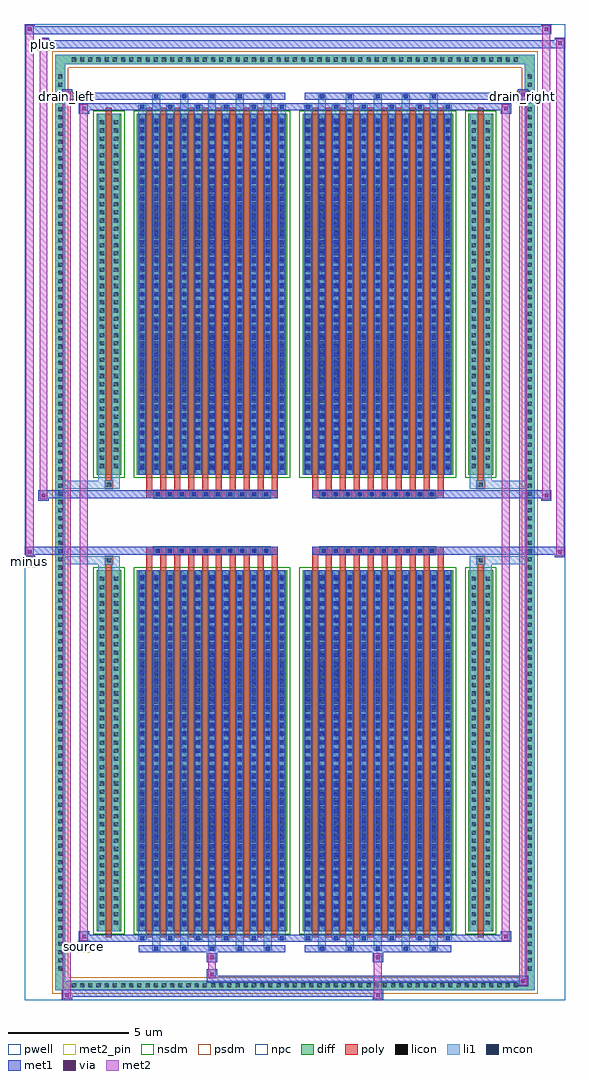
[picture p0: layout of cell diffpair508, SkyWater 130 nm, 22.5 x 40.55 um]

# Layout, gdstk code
import gdstk
lib = gdstk.Library(unit=1e-6, precision=5e-09)
def R(c, l, rs):  # rectangles x0, y0, x1, y1
    for r in rs: c.add(gdstk.rectangle(r[:2], r[2:], *l))
def A(c, l, x, y, w, h, nx, ny, dx, dy):  # array of equal rectangles
    R(c, l, [(x+i*dx, y+j*dy, x+i*dx+w, y+j*dy+h) for i in range(nx) for j in range(ny)])
def P(c, l, *ps):  # polygons
    for p in ps: c.add(gdstk.Polygon(p, *l))
pwell = (64, 44)
diff = (65, 20)
poly = (66, 20)
licon = (66, 44)
li1 = (67, 20)
mcon = (67, 44)
met1 = (68, 20)
via = (68, 44)
met2_pin = (69, 16)
met2 = (69, 20)
nsdm = (93, 44)
psdm = (94, 20)
npc = (95, 20)

diffpair508 = lib.new_cell('diffpair508')
R(diffpair508, pwell, [(-11.23,-19.84,11.23,20.71), (-8.55,-18.03,-0.01,-0.805), (0.01,-18.03,8.55,-0.805), (-8.55,0.805,-0.01,18.03), (0.01,0.805,8.55,18.03)])
A(diffpair508, diff, -9.385, -19.44, 0.41, 0.41, 55, 2, 0.34, 38.47)
A(diffpair508, diff, -9.96, -18.735, 0.41, 0.41, 1, 110, 0, 0.34)
A(diffpair508, diff, 9.55, -18.735, 0.41, 0.41, 1, 110, 0, 0.34)
R(diffpair508, diff, [(-9.385,-19.44,9.385,-19.03), (-9.96,-18.735,-9.55,18.735), (9.55,-18.735,9.96,18.735), (-8.24,-16.985,-7.21,-1.985), (-6.57,-16.985,-0.32,-1.985), (0.32,-16.985,6.57,-1.985), (7.21,-16.985,8.24,-1.985), (-8.24,1.985,-7.21,16.985), (-6.57,1.985,-0.32,16.985), (0.32,1.985,6.57,16.985), (7.21,1.985,8.24,16.985), (-9.385,19.03,9.385,19.44)])
P(diffpair508, diff, [(9.96,19.44),(-9.96,19.44),(-9.96,-19.03),(-9.55,-19.03),(-9.55,19.03),(9.55,19.03),(9.55,-19.03),(-9.55,-19.03),(-9.96,-19.03),(-9.96,-19.44),(9.96,-19.44)])
A(diffpair508, poly, -6.18, -17.235, 0.25, 15.5, 10, 2, 0.58, 18.97)
A(diffpair508, poly, 0.71, -17.235, 0.25, 15.5, 10, 2, 0.58, 18.97)
A(diffpair508, poly, -6.18, -1.735, 0.25, 0.4, 10, 2, 0.58, 3.07)
A(diffpair508, poly, 0.71, -1.735, 0.25, 0.4, 10, 2, 0.58, 3.07)
A(diffpair508, poly, -5.86, -1.335, 0.33, 0.33, 10, 2, 0.5, 2.34)
A(diffpair508, poly, 1.03, -1.335, 0.33, 0.33, 10, 2, 0.5, 2.34)
R(diffpair508, poly, [(-7.85,-17.235,-7.6,-1.735), (7.6,-17.235,7.85,-1.735), (-7.89,-1.735,-7.56,-1.405), (-7.89,-1.735,-7.56,-1.405), (7.56,-1.735,7.89,-1.405), (7.56,-1.735,7.89,-1.405), (-6.18,-1.335,-0.71,-1.005), (0.71,-1.335,6.18,-1.005), (-6.18,1.005,-0.71,1.335), (0.71,1.005,6.18,1.335), (-7.89,1.405,-7.56,1.735), (-7.89,1.405,-7.56,1.735), (7.56,1.405,7.89,1.735), (7.56,1.405,7.89,1.735), (-7.85,1.735,-7.6,17.235), (7.6,1.735,7.85,17.235)])
A(diffpair508, licon, -9.265, -19.32, 0.17, 0.17, 55, 2, 0.34, 38.47)
A(diffpair508, licon, -9.84, -18.615, 0.17, 0.17, 1, 110, 0, 0.34)
A(diffpair508, licon, 9.67, -18.615, 0.17, 0.17, 1, 110, 0, 0.34)
A(diffpair508, licon, -8.1, -16.71, 0.17, 0.17, 1, 43, 0, 0.34)
A(diffpair508, licon, -7.52, -16.71, 0.17, 0.17, 1, 43, 0, 0.34)
A(diffpair508, licon, -6.43, -16.71, 0.17, 0.17, 11, 43, 0.58, 0.34)
A(diffpair508, licon, 0.46, -16.71, 0.17, 0.17, 11, 43, 0.58, 0.34)
A(diffpair508, licon, 7.35, -16.71, 0.17, 0.17, 1, 43, 0, 0.34)
A(diffpair508, licon, 7.93, -16.71, 0.17, 0.17, 1, 43, 0, 0.34)
A(diffpair508, licon, -5.78, -1.255, 0.17, 0.17, 10, 2, 0.5, 2.34)
A(diffpair508, licon, 1.11, -1.255, 0.17, 0.17, 10, 2, 0.5, 2.34)
A(diffpair508, licon, -8.1, 2.26, 0.17, 0.17, 1, 43, 0, 0.34)
A(diffpair508, licon, -7.52, 2.26, 0.17, 0.17, 1, 43, 0, 0.34)
A(diffpair508, licon, -6.43, 2.26, 0.17, 0.17, 11, 43, 0.58, 0.34)
A(diffpair508, licon, 0.46, 2.26, 0.17, 0.17, 11, 43, 0.58, 0.34)
A(diffpair508, licon, 7.35, 2.26, 0.17, 0.17, 1, 43, 0, 0.34)
A(diffpair508, licon, 7.93, 2.26, 0.17, 0.17, 1, 43, 0, 0.34)
R(diffpair508, licon, [(-7.81,-1.655,-7.64,-1.485), (7.64,-1.655,7.81,-1.485), (-7.81,1.485,-7.64,1.655), (7.64,1.485,7.81,1.655)])
A(diffpair508, li1, -9.345, -19.4, 0.33, 0.33, 55, 2, 0.34, 38.47)
A(diffpair508, li1, -9.92, -18.695, 0.33, 0.33, 1, 110, 0, 0.34)
A(diffpair508, li1, 9.59, -18.695, 0.33, 0.33, 1, 110, 0, 0.34)
A(diffpair508, li1, -5.93, -17.79, 0.33, 0.805, 5, 2, 1.16, 34.775)
A(diffpair508, li1, -5.85, -17.79, 0.17, 0.17, 5, 2, 1.16, 35.41)
A(diffpair508, li1, 0.96, -17.79, 0.33, 0.805, 5, 2, 1.16, 34.775)
A(diffpair508, li1, 1.04, -17.79, 0.17, 0.17, 5, 2, 1.16, 35.41)
A(diffpair508, li1, -6.51, -17.36, 0.33, 0.375, 6, 2, 1.16, 34.345)
A(diffpair508, li1, -6.43, -17.36, 0.17, 0.17, 6, 2, 1.16, 34.55)
A(diffpair508, li1, 0.38, -17.36, 0.33, 0.375, 6, 2, 1.16, 34.345)
A(diffpair508, li1, 0.46, -17.36, 0.17, 0.17, 6, 2, 1.16, 34.55)
A(diffpair508, li1, -6.51, -16.985, 0.33, 15, 11, 2, 0.58, 18.97)
A(diffpair508, li1, 0.38, -16.985, 0.33, 15, 11, 2, 0.58, 18.97)
A(diffpair508, li1, -8.18, -16.79, 0.33, 0.33, 1, 43, 0, 0.34)
A(diffpair508, li1, -7.6, -16.79, 0.33, 0.33, 1, 43, 0, 0.34)
A(diffpair508, li1, -6.51, -16.79, 0.33, 0.33, 11, 43, 0.58, 0.34)
A(diffpair508, li1, 0.38, -16.79, 0.33, 0.33, 11, 43, 0.58, 0.34)
A(diffpair508, li1, 7.27, -16.79, 0.33, 0.33, 1, 43, 0, 0.34)
A(diffpair508, li1, 7.85, -16.79, 0.33, 0.33, 1, 43, 0, 0.34)
A(diffpair508, li1, -6.43, -16.77, 0.17, 0.17, 11, 41, 0.58, 0.36)
A(diffpair508, li1, -6.43, -16.77, 0.17, 14.57, 11, 2, 0.58, 18.97)
A(diffpair508, li1, 0.46, -16.77, 0.17, 0.17, 11, 41, 0.58, 0.36)
A(diffpair508, li1, 0.46, -16.77, 0.17, 14.57, 11, 2, 0.58, 18.97)
A(diffpair508, li1, -5.86, -1.335, 0.33, 0.33, 10, 2, 0.5, 2.34)
A(diffpair508, li1, 1.03, -1.335, 0.33, 0.33, 10, 2, 0.5, 2.34)
A(diffpair508, li1, -8.18, 2.18, 0.33, 0.33, 1, 43, 0, 0.34)
A(diffpair508, li1, -7.6, 2.18, 0.33, 0.33, 1, 43, 0, 0.34)
A(diffpair508, li1, -6.51, 2.18, 0.33, 0.33, 11, 43, 0.58, 0.34)
A(diffpair508, li1, 0.38, 2.18, 0.33, 0.33, 11, 43, 0.58, 0.34)
A(diffpair508, li1, 7.27, 2.18, 0.33, 0.33, 1, 43, 0, 0.34)
A(diffpair508, li1, 7.85, 2.18, 0.33, 0.33, 1, 43, 0, 0.34)
A(diffpair508, li1, -6.43, 2.2, 0.17, 0.17, 11, 41, 0.58, 0.36)
A(diffpair508, li1, 0.46, 2.2, 0.17, 0.17, 11, 41, 0.58, 0.36)
R(diffpair508, li1, [(-9.96,-19.44,-9.55,-19.03), (-9.96,-19.44,-9.55,-19.03), (-9.55,-19.44,9.55,-19.03), (9.55,-19.44,9.96,-19.03), (9.55,-19.44,9.96,-19.03), (-9.96,-19.03,-9.55,19.03), (9.55,-19.03,9.96,19.03), (-8.18,-16.985,-7.85,-1.985), (-7.6,-16.985,-7.27,-1.985), (7.27,-16.985,7.6,-1.985), (7.85,-16.985,8.18,-1.985), (-8.18,-1.985,-7.85,-1.405), (-7.6,-1.985,-7.27,-1.405), (7.27,-1.985,7.6,-1.405), (7.85,-1.985,8.18,-1.405), (-9.96,-1.735,-7.89,-1.405), (-8.18,-1.735,-7.89,-1.405), (-7.89,-1.735,-7.56,-1.405), (-7.56,-1.735,-7.27,-1.405), (7.27,-1.735,7.56,-1.405), (7.56,-1.735,7.89,-1.405), (7.56,-1.735,9.96,-1.405), (7.89,-1.735,8.18,-1.405), (-9.96,1.405,-7.89,1.735), (-8.18,1.405,-7.89,1.735), (-8.18,1.405,-7.85,1.985), (-7.89,1.405,-7.56,1.735), (-7.6,1.405,-7.27,1.985), (-7.56,1.405,-7.27,1.735), (7.27,1.405,7.56,1.735), (7.27,1.405,7.6,1.985), (7.56,1.405,7.89,1.735), (7.56,1.405,9.96,1.735), (7.85,1.405,8.18,1.985), (7.89,1.405,8.18,1.735), (-8.18,1.985,-7.85,16.985), (-7.6,1.985,-7.27,16.985), (7.27,1.985,7.6,16.985), (7.85,1.985,8.18,16.985), (-9.96,19.03,-9.55,19.44), (-9.96,19.03,-9.55,19.44), (-9.55,19.03,9.55,19.44), (9.55,19.03,9.96,19.44), (9.55,19.03,9.96,19.44)])
A(diffpair508, mcon, -5.85, -17.79, 0.17, 0.17, 5, 2, 1.16, 35.41)
A(diffpair508, mcon, 1.04, -17.79, 0.17, 0.17, 5, 2, 1.16, 35.41)
A(diffpair508, mcon, -6.43, -17.36, 0.17, 0.17, 6, 2, 1.16, 34.55)
A(diffpair508, mcon, 0.46, -17.36, 0.17, 0.17, 6, 2, 1.16, 34.55)
A(diffpair508, mcon, -6.43, -16.77, 0.17, 0.17, 11, 41, 0.58, 0.36)
A(diffpair508, mcon, 0.46, -16.77, 0.17, 0.17, 11, 41, 0.58, 0.36)
A(diffpair508, mcon, -5.78, -1.255, 0.17, 0.17, 10, 2, 0.5, 2.34)
A(diffpair508, mcon, 1.11, -1.255, 0.17, 0.17, 10, 2, 0.5, 2.34)
A(diffpair508, mcon, -6.43, 2.2, 0.17, 0.17, 11, 41, 0.58, 0.36)
A(diffpair508, mcon, 0.46, 2.2, 0.17, 0.17, 11, 41, 0.58, 0.36)
A(diffpair508, met1, -5.91, -17.85, 0.29, 0.29, 5, 2, 1.16, 35.41)
A(diffpair508, met1, 0.98, -17.85, 0.29, 0.29, 5, 2, 1.16, 35.41)
A(diffpair508, met1, -6.49, -17.42, 0.29, 0.29, 6, 2, 1.16, 34.55)
A(diffpair508, met1, 0.4, -17.42, 0.29, 0.29, 6, 2, 1.16, 34.55)
A(diffpair508, met1, -6.49, -16.985, 0.29, 15, 11, 2, 0.58, 18.97)
A(diffpair508, met1, 0.4, -16.985, 0.29, 15, 11, 2, 0.58, 18.97)
A(diffpair508, met1, -6.49, -16.83, 0.29, 0.29, 11, 41, 0.58, 0.36)
A(diffpair508, met1, 0.4, -16.83, 0.29, 0.29, 11, 41, 0.58, 0.36)
A(diffpair508, met1, -5.84, -1.315, 0.29, 0.29, 10, 2, 0.5, 2.34)
A(diffpair508, met1, 1.05, -1.315, 0.29, 0.29, 10, 2, 0.5, 2.34)
A(diffpair508, met1, -6.49, 2.14, 0.29, 0.29, 11, 41, 0.58, 0.36)
A(diffpair508, met1, 0.4, 2.14, 0.29, 0.29, 11, 41, 0.58, 0.36)
R(diffpair508, met1, [(-9.69,-19.84,-9.26,-19.41), (3.23,-19.84,3.66,-19.41), (-9.69,-19.7,3.66,-19.41), (9.26,-19.27,9.69,-18.84), (-3.66,-19.13,9.69,-18.84), (-3.66,-18.99,-3.23,-18.56), (-3.66,-18.28,-3.23,-17.85), (3.23,-18.28,3.66,-17.85), (-6.49,-17.85,-0.4,-17.56), (0.4,-17.85,6.49,-17.56), (-8.98,-17.42,-8.55,-16.99), (-8.98,-17.42,-6.49,-17.13), (-6.49,-17.42,-0.4,-17.13), (-0.4,-17.42,0.4,-17.13), (0.4,-17.42,6.49,-17.13), (6.49,-17.42,8.98,-17.13), (8.55,-17.42,8.98,-16.99), (-11.23,-1.435,-10.8,-1.005), (10.8,-1.435,11.23,-1.005), (-11.23,-1.335,-0.71,-1.005), (-6.18,-1.335,-0.71,-1.005), (0.71,-1.335,6.18,-1.005), (0.71,-1.335,11.23,-1.005), (-10.66,0.905,-10.23,1.335), (10.23,0.905,10.66,1.335), (-10.66,1.005,-6.18,1.335), (-6.18,1.005,-0.71,1.335), (0.71,1.005,6.18,1.335), (6.18,1.005,10.66,1.335), (-8.98,16.99,-8.55,17.42), (8.55,16.99,8.98,17.42), (-8.98,17.13,-6.49,17.42), (-6.49,17.13,-0.4,17.42), (-0.4,17.13,0.4,17.42), (0.4,17.13,6.49,17.42), (6.49,17.13,8.98,17.42), (-9.69,17.56,-9.26,17.99), (-9.69,17.56,-6.49,17.85), (-6.49,17.56,-0.4,17.85), (0.4,17.56,6.49,17.85), (6.49,17.56,9.69,17.85), (9.26,17.56,9.69,17.99), (-10.66,19.71,-10.23,20.14), (-10.66,19.71,-8.55,20.04), (-8.55,19.71,8.55,20.04), (8.55,19.71,11.23,20.04), (10.8,19.71,11.23,20.14), (-11.23,20.28,-10.8,20.71), (-11.23,20.28,-8.55,20.61), (-8.55,20.28,8.55,20.61), (8.55,20.28,10.66,20.61), (10.23,20.28,10.66,20.71)])
R(diffpair508, via, [(-9.55,-19.7,-9.4,-19.55), (3.37,-19.7,3.52,-19.55), (9.4,-19.13,9.55,-18.98), (-3.52,-18.85,-3.37,-18.7), (-3.52,-18.14,-3.37,-17.99), (3.37,-18.14,3.52,-17.99), (-8.84,-17.28,-8.69,-17.13), (8.69,-17.28,8.84,-17.13), (-11.09,-1.295,-10.94,-1.145), (10.94,-1.295,11.09,-1.145), (-10.52,1.045,-10.37,1.195), (10.37,1.045,10.52,1.195), (-8.84,17.13,-8.69,17.28), (8.69,17.13,8.84,17.28), (-9.55,17.7,-9.4,17.85), (9.4,17.7,9.55,17.85), (-10.52,19.85,-10.37,20), (10.94,19.85,11.09,20), (-11.09,20.42,-10.94,20.57), (10.37,20.42,10.52,20.57)])
R(diffpair508, met2_pin, [(-9.015,-17.87,-8.515,-17.37), (-11.265,-1.885,-10.765,-1.385), (-9.725,17.44,-9.225,17.94), (9.225,17.44,9.725,17.94), (-10.695,19.59,-10.195,20.09)])
R(diffpair508, met2, [(-9.64,-19.79,-9.31,-19.46), (-9.64,-19.79,-9.31,17.94), (3.28,-19.79,3.61,-19.46), (3.28,-19.46,3.61,-18.23), (9.31,-19.22,9.64,-18.89), (9.31,-19.22,9.64,17.94), (-3.61,-18.94,-3.28,-18.61), (-3.61,-18.61,-3.28,-18.23), (-3.61,-18.23,-3.28,-17.9), (3.28,-18.23,3.61,-17.9), (-8.93,-17.37,-8.6,-17.04), (-8.93,-17.37,-8.6,17.37), (8.6,-17.37,8.93,-17.04), (8.6,-17.37,8.93,17.37), (-11.18,-1.385,-10.85,-1.055), (-11.18,-1.385,-10.85,20.66), (10.85,-1.385,11.18,-1.055), (10.85,-1.385,11.18,20.09), (-10.61,0.955,-10.28,1.285), (-10.61,0.955,-10.28,20.09), (10.28,0.955,10.61,1.285), (10.28,0.955,10.61,20.66), (-8.93,17.04,-8.6,17.37), (8.6,17.04,8.93,17.37), (-9.64,17.61,-9.31,17.94), (9.31,17.61,9.64,17.94), (-10.61,19.76,-10.28,20.09), (10.85,19.76,11.18,20.09), (-11.18,20.33,-10.85,20.66), (10.28,20.33,10.61,20.66)])
P(diffpair508, met2, [(11.18,-1.385),(11.18,-1.385),(11.18,-1.055),(11.18,-1.055)],
  [(11.18,19.76),(11.18,19.76),(11.18,20.09),(11.18,20.09)],
  [(-10.85,-1.385),(-10.85,-1.385),(-10.85,-1.055),(-10.85,-1.055)],
  [(-10.85,20.33),(-10.85,20.33),(-10.85,20.66),(-10.85,20.66)],
  [(10.61,0.955),(10.61,0.955),(10.61,1.285),(10.61,1.285)],
  [(10.61,20.33),(10.61,20.33),(10.61,20.66),(10.61,20.66)],
  [(-10.28,0.955),(-10.28,0.955),(-10.28,1.285),(-10.28,1.285)],
  [(-10.28,19.76),(-10.28,19.76),(-10.28,20.09),(-10.28,20.09)],
  [(-9.31,-19.79),(-9.31,-19.79),(-9.31,-19.46),(-9.31,-19.46)],
  [(-9.31,17.61),(-9.31,17.61),(-9.31,17.94),(-9.31,17.94)],
  [(9.64,-19.22),(9.64,-19.22),(9.64,-18.89),(9.64,-18.89)],
  [(9.64,17.61),(9.64,17.61),(9.64,17.94),(9.64,17.94)],
  [(-8.6,-17.37),(-8.6,-17.37),(-8.6,-17.04),(-8.6,-17.04)],
  [(-8.6,17.04),(-8.6,17.04),(-8.6,17.37),(-8.6,17.37)],
  [(8.93,-17.37),(8.93,-17.37),(8.93,-17.04),(8.93,-17.04)],
  [(8.93,17.04),(8.93,17.04),(8.93,17.37),(8.93,17.37)])
R(diffpair508, nsdm, [(-8.37,-17.115,-7.08,-1.855), (-6.7,-17.115,-0.19,-1.855), (0.19,-17.115,6.7,-1.855), (7.08,-17.115,8.37,-1.855), (-8.37,1.855,-7.08,17.115), (-6.7,1.855,-0.19,17.115), (0.19,1.855,6.7,17.115), (7.08,1.855,8.37,17.115)])
P(diffpair508, psdm, [(10.09,19.57),(-10.09,19.57),(-10.09,-18.9),(-9.42,-18.9),(-9.42,18.9),(9.42,18.9),(9.42,-18.9),(-9.42,-18.9),(-10.09,-18.9),(-10.09,-19.57),(10.09,-19.57)])
A(diffpair508, npc, -5.88, -1.355, 0.37, 0.37, 10, 2, 0.5, 2.34)
A(diffpair508, npc, 1.01, -1.355, 0.37, 0.37, 10, 2, 0.5, 2.34)
R(diffpair508, npc, [(-7.91,-1.755,-7.54,-1.385), (7.54,-1.755,7.91,-1.385), (-5.88,-1.355,-5.01,-0.985), (-5.88,-1.355,-5.01,-0.985), (-5.38,-1.355,-4.51,-0.985), (-5.38,-1.355,-4.51,-0.985), (-4.88,-1.355,-4.01,-0.985), (-4.88,-1.355,-4.01,-0.985), (-4.38,-1.355,-3.51,-0.985), (-4.38,-1.355,-3.51,-0.985), (-3.88,-1.355,-3.01,-0.985), (-3.88,-1.355,-3.01,-0.985), (-3.38,-1.355,-2.51,-0.985), (-3.38,-1.355,-2.51,-0.985), (-2.88,-1.355,-2.01,-0.985), (-2.88,-1.355,-2.01,-0.985), (-2.38,-1.355,-1.51,-0.985), (-2.38,-1.355,-1.51,-0.985), (-1.88,-1.355,-1.01,-0.985), (-1.88,-1.355,-1.01,-0.985), (1.01,-1.355,1.88,-0.985), (1.01,-1.355,1.88,-0.985), (1.51,-1.355,2.38,-0.985), (1.51,-1.355,2.38,-0.985), (2.01,-1.355,2.88,-0.985), (2.01,-1.355,2.88,-0.985), (2.51,-1.355,3.38,-0.985), (2.51,-1.355,3.38,-0.985), (3.01,-1.355,3.88,-0.985), (3.01,-1.355,3.88,-0.985), (3.51,-1.355,4.38,-0.985), (3.51,-1.355,4.38,-0.985), (4.01,-1.355,4.88,-0.985), (4.01,-1.355,4.88,-0.985), (4.51,-1.355,5.38,-0.985), (4.51,-1.355,5.38,-0.985), (5.01,-1.355,5.88,-0.985), (5.01,-1.355,5.88,-0.985), (-5.88,0.985,-5.01,1.355), (-5.88,0.985,-5.01,1.355), (-5.38,0.985,-4.51,1.355), (-5.38,0.985,-4.51,1.355), (-4.88,0.985,-4.01,1.355), (-4.88,0.985,-4.01,1.355), (-4.38,0.985,-3.51,1.355), (-4.38,0.985,-3.51,1.355), (-3.88,0.985,-3.01,1.355), (-3.88,0.985,-3.01,1.355), (-3.38,0.985,-2.51,1.355), (-3.38,0.985,-2.51,1.355), (-2.88,0.985,-2.01,1.355), (-2.88,0.985,-2.01,1.355), (-2.38,0.985,-1.51,1.355), (-2.38,0.985,-1.51,1.355), (-1.88,0.985,-1.01,1.355), (-1.88,0.985,-1.01,1.355), (1.01,0.985,1.88,1.355), (1.01,0.985,1.88,1.355), (1.51,0.985,2.38,1.355), (1.51,0.985,2.38,1.355), (2.01,0.985,2.88,1.355), (2.01,0.985,2.88,1.355), (2.51,0.985,3.38,1.355), (2.51,0.985,3.38,1.355), (3.01,0.985,3.88,1.355), (3.01,0.985,3.88,1.355), (3.51,0.985,4.38,1.355), (3.51,0.985,4.38,1.355), (4.01,0.985,4.88,1.355), (4.01,0.985,4.88,1.355), (4.51,0.985,5.38,1.355), (4.51,0.985,5.38,1.355), (5.01,0.985,5.88,1.355), (5.01,0.985,5.88,1.355), (-7.91,1.385,-7.54,1.755), (7.54,1.385,7.91,1.755)])
diffpair508.add(gdstk.Label('minus', (-11.015,-1.635), layer=69, texttype=5))
diffpair508.add(gdstk.Label('drain_right', (9.475,17.69), layer=69, texttype=5))
diffpair508.add(gdstk.Label('drain_left', (-9.475,17.69), layer=69, texttype=5))
diffpair508.add(gdstk.Label('source', (-8.765,-17.62), layer=69, texttype=5))
diffpair508.add(gdstk.Label('plus', (-10.445,19.84), layer=69, texttype=5))

lib.write_gds('diffpair508.gds')
